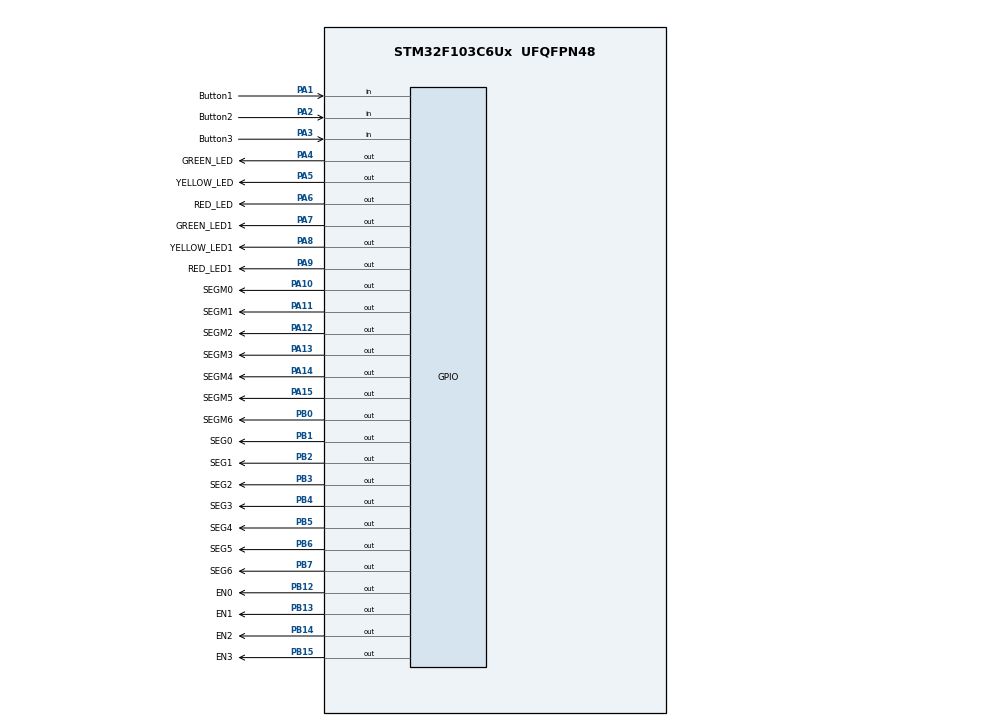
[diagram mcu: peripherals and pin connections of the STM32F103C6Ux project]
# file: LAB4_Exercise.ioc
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Mcu.Family=STM32F1
Mcu.Name=STM32F103C6Ux
Mcu.Package=UFQFPN48
NVIC.PriorityGroup=NVIC_PRIORITYGROUP_4
NVIC.TIM2_IRQn=true\:0\:0\:false\:false\:true\:true\:true
PA1.GPIO_Label=Button1
PA1.GPIO_PuPd=GPIO_PULLUP
PA1.Signal=GPIO_Input
PA10.GPIO_Label=SEGM0
PA10.Signal=GPIO_Output
PA11.GPIO_Label=SEGM1
PA11.Signal=GPIO_Output
PA12.GPIO_Label=SEGM2
PA12.Signal=GPIO_Output
PA13.GPIO_Label=SEGM3
PA13.Signal=GPIO_Output
PA14.GPIO_Label=SEGM4
PA14.Signal=GPIO_Output
PA15.GPIO_Label=SEGM5
PA15.Signal=GPIO_Output
PA2.GPIO_Label=Button2
PA2.GPIO_PuPd=GPIO_PULLUP
PA2.Signal=GPIO_Input
PA3.GPIO_Label=Button3
PA3.GPIO_PuPd=GPIO_PULLUP
PA3.Signal=GPIO_Input
PA4.GPIO_Label=GREEN_LED
PA4.Signal=GPIO_Output
PA5.GPIO_Label=YELLOW_LED
PA5.Signal=GPIO_Output
PA6.GPIO_Label=RED_LED
PA6.Signal=GPIO_Output
PA7.GPIO_Label=GREEN_LED1
PA7.Signal=GPIO_Output
PA8.GPIO_Label=YELLOW_LED1
PA8.Signal=GPIO_Output
PA9.GPIO_Label=RED_LED1
PA9.Signal=GPIO_Output
PB0.GPIO_Label=SEGM6
PB0.Signal=GPIO_Output
PB1.GPIO_Label=SEG0
PB1.Signal=GPIO_Output
PB12.GPIO_Label=EN0
PB12.Signal=GPIO_Output
PB13.GPIO_Label=EN1
PB13.Signal=GPIO_Output
PB14.GPIO_Label=EN2
PB14.Signal=GPIO_Output
PB15.GPIO_Label=EN3
PB15.Signal=GPIO_Output
PB2.GPIO_Label=SEG1
PB2.Signal=GPIO_Output
PB3.GPIO_Label=SEG2
PB3.Signal=GPIO_Output
PB4.GPIO_Label=SEG3
PB4.Signal=GPIO_Output
PB5.GPIO_Label=SEG4
PB5.Signal=GPIO_Output
PB6.GPIO_Label=SEG5
PB6.Signal=GPIO_Output
PB7.GPIO_Label=SEG6
PB7.Signal=GPIO_Output
ProjectManager.HeapSize=0x200
ProjectManager.StackSize=0x400
ProjectManager.TargetToolchain=STM32CubeIDE
RCC.APB1Freq_Value=8000000
RCC.APB2Freq_Value=8000000
TIM2.Period=9
TIM2.Prescaler=7999
VP_SYS_VS_ND.Mode=No_Debug
VP_TIM2_VS_ClockSourceINT.Mode=Internal
board=custom

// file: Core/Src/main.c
/* USER CODE BEGIN Header */
/**
  ******************************************************************************
  * @file           : main.c
  * @brief          : Main program body
  ******************************************************************************
  * @attention
  *
  * <h2><center>&copy; Copyright (c) 2025 STMicroelectronics.
  * All rights reserved.</center></h2>
  *
  * This software component is licensed by ST under BSD 3-Clause license,
  * the "License"; You may not use this file except in compliance with the
  * License. You may obtain a copy of the License at:
  *                        opensource.org/licenses/BSD-3-Clause
  *
  ******************************************************************************
  */
/* USER CODE END Header */
#include "main.h"

/* USER CODE BEGIN Includes */
#include "scheduler.h"
#include "button.h"
#include "fsm_automatic.h"
#include "fsm_manual.h"
/* USER CODE END Includes */

TIM_HandleTypeDef htim2;

void SystemClock_Config(void);
static void MX_GPIO_Init(void);
static void MX_TIM2_Init(void);

int main(void)
{

  /* MCU Configuration--------------------------------------------------------*/

  /* Reset of all peripherals, Initializes the Flash interface and the Systick. */
  HAL_Init();

  /* Configure the system clock */
  SystemClock_Config();

  /* Initialize all configured peripherals */
  MX_GPIO_Init();
  MX_TIM2_Init();
  /* USER CODE BEGIN 2 */
  HAL_TIM_Base_Start_IT(&htim2);
  /* USER CODE END 2 */

  /* Infinite loop */
  /* USER CODE BEGIN WHILE */
  SCH_Add_Task(Countdown, 0, 1000);
  SCH_Add_Task(Count_index_led, 0, 250);
  SCH_Add_Task(Count_index_led1, 0, 250);
  SCH_Add_Task(fsm_manual_run, 0, 100);
  SCH_Add_Task(ToggleLed, 0, 250);
  SCH_Add_Task(getKeyInput, 0, 10);
  status=INIT;
  status1=INIT;
  mode=INIT;
  while (1)
  {
	  SCH_Dispatch_Tasks();
    /* USER CODE END WHILE */

  }
}

void SystemClock_Config(void)
{
  RCC_OscInitTypeDef RCC_OscInitStruct = {0};
  RCC_ClkInitTypeDef RCC_ClkInitStruct = {0};

  /** Initializes the RCC Oscillators according to the specified parameters
  * in the RCC_OscInitTypeDef structure.
  */
  RCC_OscInitStruct.OscillatorType = RCC_OSCILLATORTYPE_HSI;
  RCC_OscInitStruct.HSIState = RCC_HSI_ON;
  RCC_OscInitStruct.HSICalibrationValue = RCC_HSICALIBRATION_DEFAULT;
  RCC_OscInitStruct.PLL.PLLState = RCC_PLL_NONE;
  if (HAL_RCC_OscConfig(&RCC_OscInitStruct) != HAL_OK)
  {
    Error_Handler();
  }
  /** Initializes the CPU, AHB and APB buses clocks
  */
  RCC_ClkInitStruct.ClockType = RCC_CLOCKTYPE_HCLK|RCC_CLOCKTYPE_SYSCLK
                              |RCC_CLOCKTYPE_PCLK1|RCC_CLOCKTYPE_PCLK2;
  RCC_ClkInitStruct.SYSCLKSource = RCC_SYSCLKSOURCE_HSI;
  RCC_ClkInitStruct.AHBCLKDivider = RCC_SYSCLK_DIV1;
  RCC_ClkInitStruct.APB1CLKDivider = RCC_HCLK_DIV1;
  RCC_ClkInitStruct.APB2CLKDivider = RCC_HCLK_DIV1;

  if (HAL_RCC_ClockConfig(&RCC_ClkInitStruct, FLASH_LATENCY_0) != HAL_OK)
  {
    Error_Handler();
  }
}

static void MX_TIM2_Init(void)
{

  TIM_ClockConfigTypeDef sClockSourceConfig = {0};
  TIM_MasterConfigTypeDef sMasterConfig = {0};

  htim2.Instance = TIM2;
  htim2.Init.Prescaler = 7999;
  htim2.Init.CounterMode = TIM_COUNTERMODE_UP;
  htim2.Init.Period = 9;
  htim2.Init.ClockDivision = TIM_CLOCKDIVISION_DIV1;
  htim2.Init.AutoReloadPreload = TIM_AUTORELOAD_PRELOAD_DISABLE;
  if (HAL_TIM_Base_Init(&htim2) != HAL_OK)
  {
    Error_Handler();
  }
  sClockSourceConfig.ClockSource = TIM_CLOCKSOURCE_INTERNAL;
  if (HAL_TIM_ConfigClockSource(&htim2, &sClockSourceConfig) != HAL_OK)
  {
    Error_Handler();
  }
  sMasterConfig.MasterOutputTrigger = TIM_TRGO_RESET;
  sMasterConfig.MasterSlaveMode = TIM_MASTERSLAVEMODE_DISABLE;
  if (HAL_TIMEx_MasterConfigSynchronization(&htim2, &sMasterConfig) != HAL_OK)
  {
    Error_Handler();
  }

}

static void MX_GPIO_Init(void)
{
  GPIO_InitTypeDef GPIO_InitStruct = {0};

  /* GPIO Ports Clock Enable */
  __HAL_RCC_GPIOA_CLK_ENABLE();
  __HAL_RCC_GPIOB_CLK_ENABLE();

  /*Configure GPIO pin Output Level */
  HAL_GPIO_WritePin(GPIOA, GREEN_LED_Pin|YELLOW_LED_Pin|RED_LED_Pin|GREEN_LED1_Pin
                          |YELLOW_LED1_Pin|RED_LED1_Pin|SEGM0_Pin|SEGM1_Pin
                          |SEGM2_Pin|SEGM3_Pin|SEGM4_Pin|SEGM5_Pin, GPIO_PIN_RESET);

  /*Configure GPIO pin Output Level */
  HAL_GPIO_WritePin(GPIOB, SEGM6_Pin|SEG0_Pin|SEG1_Pin|EN0_Pin
                          |EN1_Pin|EN2_Pin|EN3_Pin|SEG2_Pin
                          |SEG3_Pin|SEG4_Pin|SEG5_Pin|SEG6_Pin, GPIO_PIN_RESET);

  /*Configure GPIO pins : Button1_Pin Button2_Pin Button3_Pin */
  GPIO_InitStruct.Pin = Button1_Pin|Button2_Pin|Button3_Pin;
  GPIO_InitStruct.Mode = GPIO_MODE_INPUT;
  GPIO_InitStruct.Pull = GPIO_PULLUP;
  HAL_GPIO_Init(GPIOA, &GPIO_InitStruct);

  /*Configure GPIO pins : GREEN_LED_Pin YELLOW_LED_Pin RED_LED_Pin GREEN_LED1_Pin
                           YELLOW_LED1_Pin RED_LED1_Pin SEGM0_Pin SEGM1_Pin
                           SEGM2_Pin SEGM3_Pin SEGM4_Pin SEGM5_Pin */
  GPIO_InitStruct.Pin = GREEN_LED_Pin|YELLOW_LED_Pin|RED_LED_Pin|GREEN_LED1_Pin
                          |YELLOW_LED1_Pin|RED_LED1_Pin|SEGM0_Pin|SEGM1_Pin
                          |SEGM2_Pin|SEGM3_Pin|SEGM4_Pin|SEGM5_Pin;
  GPIO_InitStruct.Mode = GPIO_MODE_OUTPUT_PP;
  GPIO_InitStruct.Pull = GPIO_NOPULL;
  GPIO_InitStruct.Speed = GPIO_SPEED_FREQ_LOW;
  HAL_GPIO_Init(GPIOA, &GPIO_InitStruct);

  /*Configure GPIO pins : SEGM6_Pin SEG0_Pin SEG1_Pin EN0_Pin
                           EN1_Pin EN2_Pin EN3_Pin SEG2_Pin
                           SEG3_Pin SEG4_Pin SEG5_Pin SEG6_Pin */
  GPIO_InitStruct.Pin = SEGM6_Pin|SEG0_Pin|SEG1_Pin|EN0_Pin
                          |EN1_Pin|EN2_Pin|EN3_Pin|SEG2_Pin
                          |SEG3_Pin|SEG4_Pin|SEG5_Pin|SEG6_Pin;
  GPIO_InitStruct.Mode = GPIO_MODE_OUTPUT_PP;
  GPIO_InitStruct.Pull = GPIO_NOPULL;
  GPIO_InitStruct.Speed = GPIO_SPEED_FREQ_LOW;
  HAL_GPIO_Init(GPIOB, &GPIO_InitStruct);

}

/* USER CODE BEGIN 4 */
void HAL_TIM_PeriodElapsedCallback(TIM_HandleTypeDef *htim){
	SCH_Update();
}
/* USER CODE END 4 */

void Error_Handler(void)
{
  __disable_irq();
  while (1)
  {
  }
}

/************************ (C) COPYRIGHT STMicroelectronics *****END OF FILE****/
